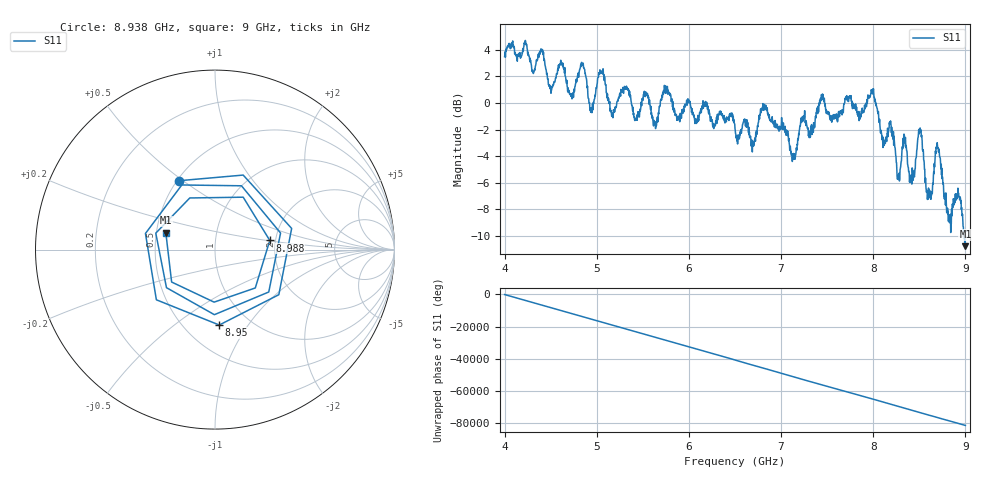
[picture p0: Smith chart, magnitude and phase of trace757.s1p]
! Created with skrf 1.8.0 (http://scikit-rf.org).
# Hz S RI R 50.0
!freq ReS11 ImS11
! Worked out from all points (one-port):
!   1601 points, 4 GHz to 9 GHz, reference 50 ohm
!   lowest |S11| = -10.8 dB at 9 GHz (marker M1), VSWR 1.82, Z = 28.1 + j5.76 ohm
!   |S11| at or under -10 dB: 8.986746 GHz to end of sweep
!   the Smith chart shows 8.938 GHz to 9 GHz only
!   S11 on the Smith chart (normalised r, x): 8.938 GHz: 0.51, +0.48; 8.95 GHz: 0.73, -0.74; 8.988 GHz: 1.86, +0.21; 9 GHz: 0.56, +0.12
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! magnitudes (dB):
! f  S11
! 4 GHz  3.5
! 4.5 GHz  1.3
! 4.625 GHz  3.0
! 4.725 GHz  0.7
! 4.85 GHz  2.8
! 4.941 GHz  -0.4
! 5.047 GHz  2.2
! 5.169 GHz  -0.9
! 5.25 GHz  0.7
! 5.875 GHz  -1.3
! 6.5 GHz  -1.9
! 6.697 GHz  -2.9
! 6.825 GHz  -0.4
! 7.125 GHz  -4.1
! 7.438 GHz  0.6
! 7.75 GHz  0.5
! 7.997 GHz  1.1
! 8.272 GHz  -5.4
! 8.375 GHz  -4.7
! 8.425 GHz  -5.0
! 8.506 GHz  -2.0
! 8.6 GHz  -6.4
! 8.7 GHz  -3.4
! 8.822 GHz  -8.4
! 8.938 GHz  -7.3
! 8.95 GHz  -7.5
! 8.988 GHz  -10.2
! 9 GHz  -10.8
